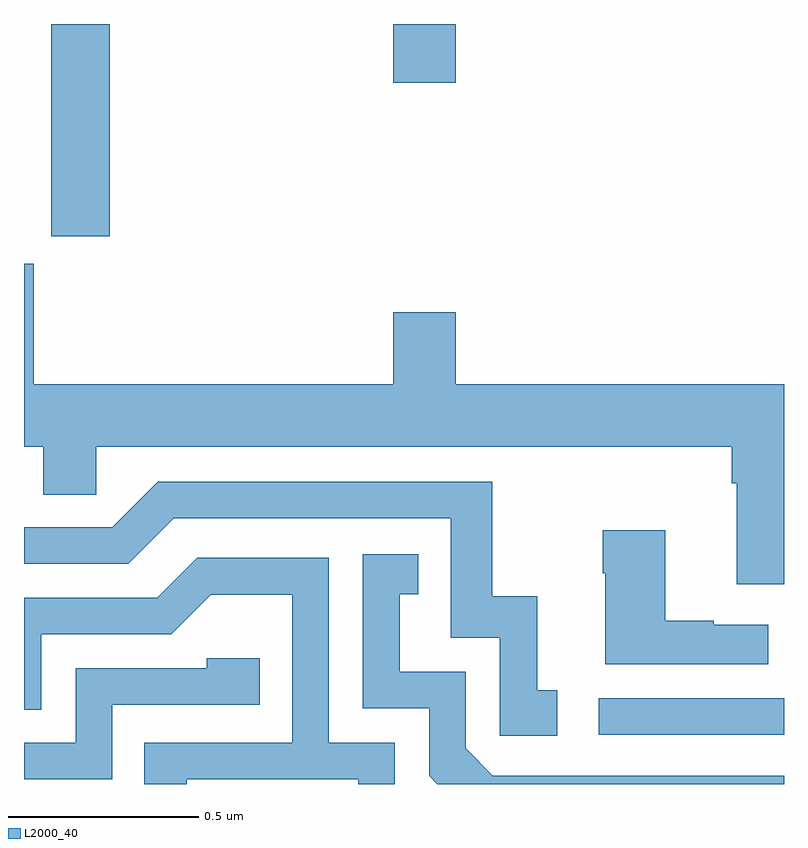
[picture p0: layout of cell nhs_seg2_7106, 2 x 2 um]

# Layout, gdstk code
import gdstk
lib = gdstk.Library(unit=1e-6, precision=1e-09)
def R(c, l, rs):  # rectangles x0, y0, x1, y1
    for r in rs: c.add(gdstk.rectangle(r[:2], r[2:], *l))
def P(c, l, *ps):  # polygons
    for p in ps: c.add(gdstk.Polygon(p, *l))
L2000_40 = (2000, 40)

nhs_seg2_7106 = lib.new_cell('nhs_seg2_7106')
R(nhs_seg2_7106, L2000_40, [(201.513,594.93,202,595.026), (200.072,596.241,200.225,596.8), (200.972,596.646,201.136,596.8)])
P(nhs_seg2_7106, L2000_40, [(200,596.169),(200,595.688),(200.051,595.688),(200.051,595.561),(200.19,595.561),(200.19,595.688),(201.863,595.688),(201.863,595.592),(201.875,595.592),(201.875,595.326),(202,595.326),(202,595.852),(201.136,595.852),(201.136,596.041),(200.972,596.041),(200.972,595.852),(200.026,595.852),(200.026,596.169)],
  [(201.403,595.047),(201.35,595.047),(201.35,595.294),(201.232,595.294),(201.232,595.596),(200.352,595.596),(200.232,595.476),(200,595.476),(200,595.38),(200.274,595.38),(200.394,595.5),(201.123,595.5),(201.123,595.185),(201.252,595.185),(201.252,594.927),(201.403,594.927)],
  [(201.958,595.219),(201.815,595.219),(201.815,595.229),(201.688,595.229),(201.688,595.468),(201.523,595.468),(201.523,595.355),(201.53,595.355),(201.53,595.115),(201.958,595.115)],
  [(202,594.822),(201.234,594.822),(201.162,594.894),(201.162,595.095),(200.989,595.095),(200.989,595.299),(201.038,595.299),(201.038,595.405),(200.892,595.405),(200.892,594.999),(201.066,594.999),(201.066,594.822),(201.088,594.8),(202,594.8)],
  [(200.428,594.813),(200.879,594.813),(200.879,594.8),(200.976,594.8),(200.976,594.909),(200.802,594.909),(200.802,595.395),(200.456,595.395),(200.351,595.29),(200,595.29),(200,594.996),(200.046,594.996),(200.046,595.194),(200.388,595.194),(200.492,595.298),(200.706,595.298),(200.706,594.909),(200.317,594.909),(200.317,594.8),(200.428,594.8)],
  [(200.232,595.008),(200.621,595.008),(200.621,595.131),(200.481,595.131),(200.481,595.104),(200.136,595.104),(200.136,594.909),(200,594.909),(200,594.813),(200.232,594.813)])

lib.write_gds('nhs_seg2_7106.gds')
